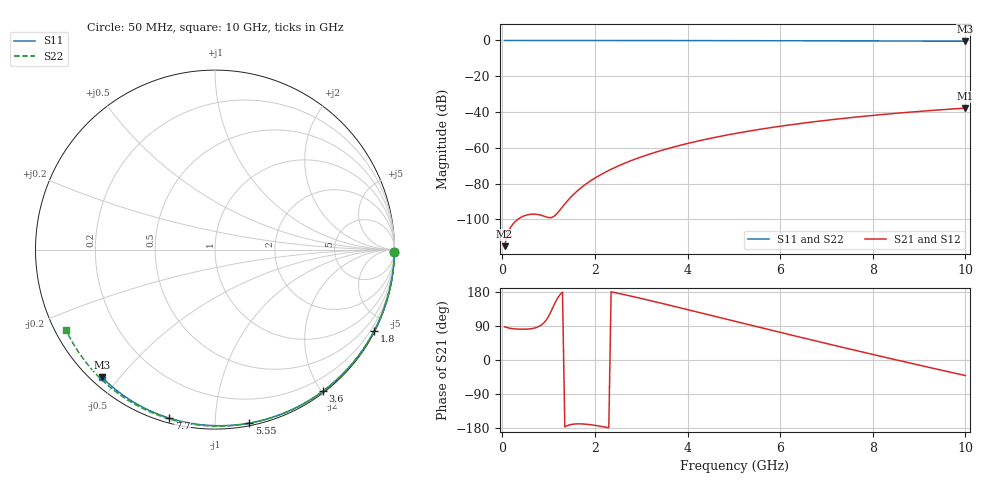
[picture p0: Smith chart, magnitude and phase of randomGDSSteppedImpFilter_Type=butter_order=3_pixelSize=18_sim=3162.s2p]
! freq	dB(S11)	phase(S11)	dB(S12)	phase(S12)
!  dB(S21)	phase(S21)	dB(S22)	phase(S22)
!S-par simulation data
#  GHz  S  DB  R 50
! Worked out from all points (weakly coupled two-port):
!   200 points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, 50 MHz to 10 GHz, reference 50 ohm
!   highest |S21| = -37.81 dB at 10 GHz (marker M1); lowest = -115.0 dB at 50 MHz (marker M2)
!   lowest |S11| = -0.4 dB at 10 GHz (marker M3), VSWR 39.00, Z = 1.54 - j22.4 ohm
!   |S11| at or under -10 dB: nowhere
!   |S22| runs from -0.5 to 0.0 dB; largest |S21 - S12| = 0
!   S11 on the Smith chart (normalised r, x): 50 MHz: open; 1.8 GHz: 0.04, -4.17; 3.6 GHz: 0.02, -2.02; 5.55 GHz: 0.02, -1.22; 7.7 GHz: 0.02, -0.76; 10 GHz: 0.03, -0.45
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0.05  -0.00 -0.8  -114.99 87.7  -114.99 87.7  -0.00 -0.9
0.45  -0.01 -6.8  -98.29 81.2  -98.29 81.2  -0.01 -7.9
0.9  -0.02 -13.6  -98.23 98.4  -98.23 98.4  -0.02 -15.7
1.3  -0.02 -19.6  -92.97 179.0  -92.97 179.0  -0.03 -22.5
1.75  -0.03 -26.2  -81.36 -168.9  -81.36 -168.9  -0.04 -30.1
1.8  -0.03 -27.0  -80.39 -169.4  -80.39 -169.4  -0.04 -31.0
1.85  -0.04 -27.7  -79.47 -170.0  -79.47 -170.0  -0.04 -31.8
2.05  -0.04 -30.6  -76.15 -173.3  -76.15 -173.3  -0.04 -35.2
2.2  -0.04 -32.8  -73.98 -176.5  -73.98 -176.5  -0.05 -37.7
2.5  -0.05 -37.2  -70.20 176.1  -70.20 176.1  -0.05 -42.6
2.9  -0.06 -42.9  -66.03 165.2  -66.03 165.2  -0.06 -49.2
3.4  -0.07 -50.0  -61.76 150.8  -61.76 150.8  -0.08 -57.2
3.6  -0.07 -52.7  -60.27 144.9  -60.27 144.9  -0.08 -60.4
4.3  -0.09 -62.3  -55.78 123.9  -55.78 123.9  -0.10 -71.3
5.05  -0.11 -72.3  -51.91 101.4  -51.91 101.4  -0.13 -82.6
5.55  -0.13 -78.8  -49.72 86.4  -49.72 86.4  -0.15 -90.0
6.1  -0.15 -85.8  -47.59 70.0  -47.59 70.0  -0.17 -97.9
6.7  -0.18 -93.2  -45.55 52.3  -45.55 52.3  -0.21 -106.4
7.7  -0.24 -105.2  -42.66 23.2  -42.66 23.2  -0.28 -120.2
8.35  -0.29 -112.8  -41.07 4.7  -41.07 4.7  -0.33 -129.1
9.2  -0.36 -122.6  -39.26 -19.1  -39.26 -19.1  -0.42 -140.7
10  -0.45 -131.6  -37.81 -41.0  -37.81 -41.0  -0.51 -151.8
